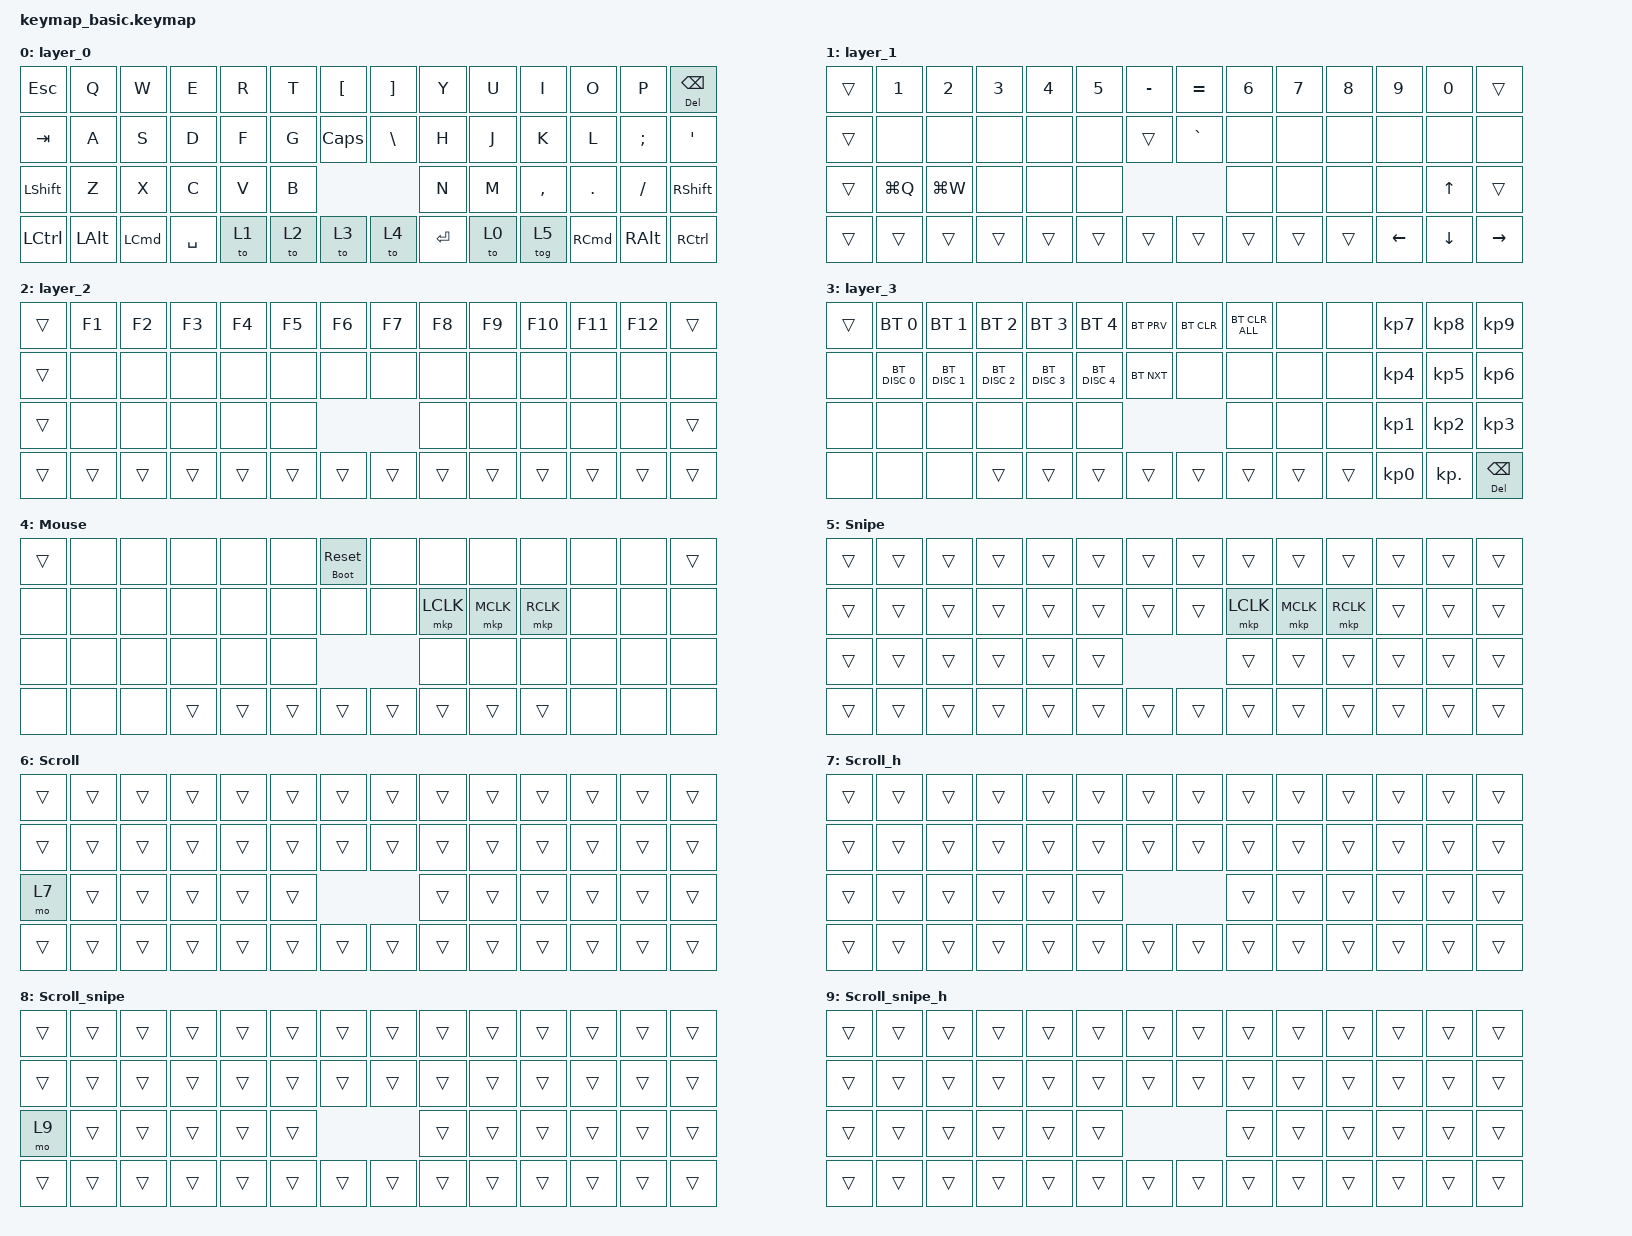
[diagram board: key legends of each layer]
#include <behaviors.dtsi>
#include <dt-bindings/zmk/bt.h>
#include <dt-bindings/zmk/keys.h>
#include <dt-bindings/zmk/pointing.h>

/ {
    behaviors {
        ht_boot_reset: ht_boot_reset {
            compatible = "zmk,behavior-hold-tap";
            label = "HT_BOOT_RESET";
            bindings = <&bootloader>, <&sys_reset>;

            #binding-cells = <2>;
            tapping-term-ms = <1000>;
        };
    };

    combos {
        compatible = "zmk,combos";

        Scroll {
            bindings = <&to 6>;
            key-positions = <50 44>;
        };

        Scroll_snip {
            bindings = <&to 8>;
            key-positions = <50 46>;
        };
    };

    keymap {
        compatible = "zmk,keymap";

        layer_0 {
            bindings = <
&kp ESC           &kp Q         &kp W             &kp E      &kp R  &kp T  &kp LEFT_BRACKET  &kp RIGHT_BRACKET  &kp Y      &kp U  &kp I      &kp O              &kp P          &mt DELETE BACKSPACE
&kp TAB           &kp A         &kp S             &kp D      &kp F  &kp G  &kp CAPS          &kp BACKSLASH      &kp H      &kp J  &kp K      &kp L              &kp SEMICOLON  &kp SQT
&kp LEFT_SHIFT    &kp Z         &kp X             &kp C      &kp V  &kp B                                       &kp N      &kp M  &kp COMMA  &kp PERIOD         &kp SLASH      &kp RIGHT_SHIFT
&kp LEFT_CONTROL  &kp LEFT_ALT  &kp LEFT_COMMAND  &kp SPACE  &to 1  &to 2  &to 3             &to 4              &kp ENTER  &to 0  &tog 5     &kp RIGHT_COMMAND  &kp RIGHT_ALT  &kp RIGHT_CONTROL
            >;
        };

        layer_1 {
            bindings = <
&trans  &kp NUMBER_1  &kp NUMBER_2  &kp NUMBER_3  &kp NUMBER_4  &kp N5  &kp MINUS  &kp EQUAL  &kp NUMBER_6  &kp NUMBER_7  &kp NUMBER_8  &kp NUMBER_9    &kp NUMBER_0  &trans
&trans  &none         &none         &none         &none         &none   &trans     &kp GRAVE  &none         &none         &none         &none           &none         &none
&trans  &kp LG(Q)     &kp LG(W)     &none         &none         &none                         &none         &none         &none         &none           &kp UP_ARROW  &trans
&trans  &trans        &trans        &trans        &trans        &trans  &trans     &trans     &trans        &trans        &trans        &kp LEFT_ARROW  &kp DOWN      &kp RIGHT
            >;
        };

        layer_2 {
            bindings = <
&trans  &kp F1  &kp F2  &kp F3  &kp F4  &kp F5  &kp F6  &kp F7  &kp F8  &kp F9  &kp F10  &kp F11  &kp F12  &trans
&trans  &none   &none   &none   &none   &none   &none   &none   &none   &none   &none    &none    &none    &none
&trans  &none   &none   &none   &none   &none                   &none   &none   &none    &none    &none    &trans
&trans  &trans  &trans  &trans  &trans  &trans  &trans  &trans  &trans  &trans  &trans   &trans   &trans   &trans
            >;
        };

        layer_3 {
            bindings = <
&trans  &bt BT_SEL 0   &bt BT_SEL 1   &bt BT_SEL 2   &bt BT_SEL 3   &bt BT_SEL 4   &bt BT_PRV  &bt BT_CLR  &bt BT_CLR_ALL  &none   &none   &kp KP_NUMBER_7  &kp KP_NUMBER_8  &kp KP_NUMBER_9
&none   &bt BT_DISC 0  &bt BT_DISC 1  &bt BT_DISC 2  &bt BT_DISC 3  &bt BT_DISC 4  &bt BT_NXT  &none       &none           &none   &none   &kp KP_NUMBER_4  &kp KP_NUMBER_5  &kp KP_NUMBER_6
&none   &none          &none          &none          &none          &none                                  &none           &none   &none   &kp KP_NUMBER_1  &kp KP_NUMBER_2  &kp KP_NUMBER_3
&none   &none          &none          &trans         &trans         &trans         &trans      &trans      &trans          &trans  &trans  &kp KP_NUMBER_0  &kp KP_DOT       &mt DELETE BACKSPACE
            >;
        };

        Mouse {
            bindings = <
&trans  &none  &none  &none   &none   &none   &ht_boot_reset 0 0  &none   &none      &none      &none      &none  &none  &trans
&none   &none  &none  &none   &none   &none   &none               &none   &mkp LCLK  &mkp MCLK  &mkp RCLK  &none  &none  &none
&none   &none  &none  &none   &none   &none                               &none      &none      &none      &none  &none  &none
&none   &none  &none  &trans  &trans  &trans  &trans              &trans  &trans     &trans     &trans     &none  &none  &none
            >;
        };

        Snipe {
            bindings = <
&trans  &trans  &trans  &trans  &trans  &trans  &trans  &trans  &trans     &trans     &trans     &trans  &trans  &trans
&trans  &trans  &trans  &trans  &trans  &trans  &trans  &trans  &mkp LCLK  &mkp MCLK  &mkp RCLK  &trans  &trans  &trans
&trans  &trans  &trans  &trans  &trans  &trans                  &trans     &trans     &trans     &trans  &trans  &trans
&trans  &trans  &trans  &trans  &trans  &trans  &trans  &trans  &trans     &trans     &trans     &trans  &trans  &trans
            >;
        };

        Scroll {
            bindings = <
&trans  &trans  &trans  &trans  &trans  &trans  &trans  &trans  &trans  &trans  &trans  &trans  &trans  &trans
&trans  &trans  &trans  &trans  &trans  &trans  &trans  &trans  &trans  &trans  &trans  &trans  &trans  &trans
&mo 7   &trans  &trans  &trans  &trans  &trans                  &trans  &trans  &trans  &trans  &trans  &trans
&trans  &trans  &trans  &trans  &trans  &trans  &trans  &trans  &trans  &trans  &trans  &trans  &trans  &trans
            >;
        };

        Scroll_h {
            bindings = <
&trans  &trans  &trans  &trans  &trans  &trans  &trans  &trans  &trans  &trans  &trans  &trans  &trans  &trans
&trans  &trans  &trans  &trans  &trans  &trans  &trans  &trans  &trans  &trans  &trans  &trans  &trans  &trans
&trans  &trans  &trans  &trans  &trans  &trans                  &trans  &trans  &trans  &trans  &trans  &trans
&trans  &trans  &trans  &trans  &trans  &trans  &trans  &trans  &trans  &trans  &trans  &trans  &trans  &trans
            >;
        };

        Scroll_snipe {
            bindings = <
&trans  &trans  &trans  &trans  &trans  &trans  &trans  &trans  &trans  &trans  &trans  &trans  &trans  &trans
&trans  &trans  &trans  &trans  &trans  &trans  &trans  &trans  &trans  &trans  &trans  &trans  &trans  &trans
&mo 9   &trans  &trans  &trans  &trans  &trans                  &trans  &trans  &trans  &trans  &trans  &trans
&trans  &trans  &trans  &trans  &trans  &trans  &trans  &trans  &trans  &trans  &trans  &trans  &trans  &trans
            >;
        };

        Scroll_snipe_h {
            bindings = <
&trans  &trans  &trans  &trans  &trans  &trans  &trans  &trans  &trans  &trans  &trans  &trans  &trans  &trans
&trans  &trans  &trans  &trans  &trans  &trans  &trans  &trans  &trans  &trans  &trans  &trans  &trans  &trans
&trans  &trans  &trans  &trans  &trans  &trans                  &trans  &trans  &trans  &trans  &trans  &trans
&trans  &trans  &trans  &trans  &trans  &trans  &trans  &trans  &trans  &trans  &trans  &trans  &trans  &trans
            >;
        };
    };
};
